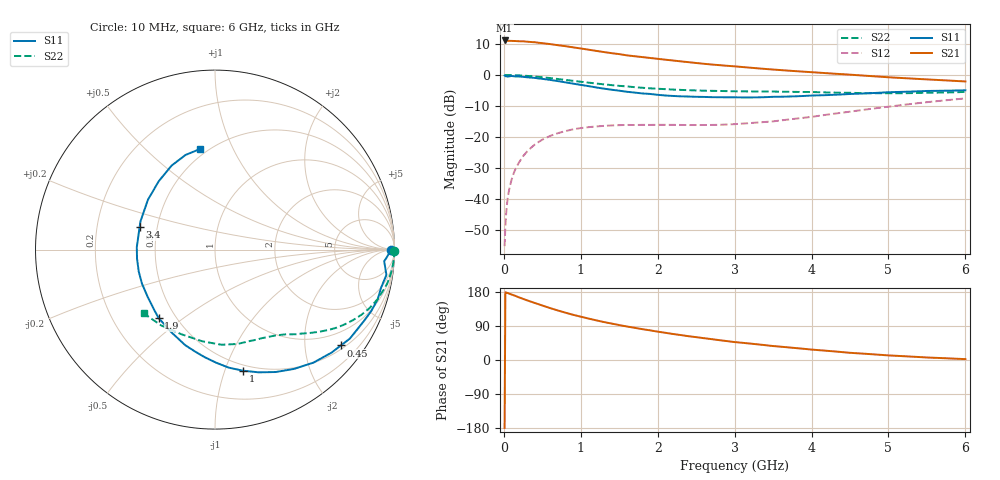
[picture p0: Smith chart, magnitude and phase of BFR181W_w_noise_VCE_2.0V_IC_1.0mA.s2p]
! Infineon Technologies  Discrete & RF Semiconductors
! BFR181W
! VCE =  2.0 V,  IC =  1.0 mA
! Common Emitter S-Parameters:  Jan 2017
# GHz  S  MA  R  50
!  f  S11  S21  S12  S22
! GHz  MAG  ANG  MAG  ANG  MAG  ANG  MAG  ANG
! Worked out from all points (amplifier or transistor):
!   77 points, 10 MHz to 6 GHz, reference 50 ohm
!   highest |S21| = 11.2 dB at 10 MHz (marker M1)
!   |S21| within 3 dB of that: start of sweep to 1.104 GHz
!   unconditionally stable (mu >= 1): 2.28 GHz to 4.575 GHz
!   at 130 MHz: K = 0.06, MSG = 21.4 dB, |S12| = -31.7 dB
!   at 2.2 GHz: K = 0.97, MSG = 10.4 dB, |S12| = -16.1 dB
!   at 6 GHz: K = 0.88, MSG = 2.7 dB, |S12| = -7.6 dB
!   lowest NFmin = 0.87 dB at 450 MHz
!   S11 on the Smith chart (normalised r, x): 10 MHz: open; 450 MHz: 0.60, -2.85; 1 GHz: 0.45, -1.16; 1.9 GHz: 0.40, -0.41; 3.4 GHz: 0.40, +0.13; 6 GHz: 0.46, +0.75
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0.01  0.9823 0.0  3.626 -179.4  0.0017 93.2  1 -0.5
0.02  0.9559 -2.8  3.582 178.8  0.0036 98.0  0.9925 -0.6
0.04  0.9484 -3.5  3.582 177.4  0.0079 88.4  0.9965 -1.7
0.07  0.9523 -5.7  3.574 175.1  0.0141 85.4  0.9973 -3.1
0.11  0.9617 -9.3  3.562 172.1  0.022 83.6  0.9948 -4.8
0.25  0.9357 -21.4  3.512 161.3  0.0486 76.4  0.9789 -10.9
0.45  0.8815 -37.3  3.33 147.3  0.0822 65.7  0.9337 -18.8
0.6  0.8353 -48.9  3.17 137.1  0.1033 59.0  0.893 -24.0
0.7  0.7973 -56.5  3.042 130.8  0.1143 55.2  0.8634 -27.1
0.8  0.7615 -63.6  2.931 124.9  0.1238 51.4  0.8339 -30.0
1  0.6924 -77.0  2.69 114.3  0.1386 45.1  0.7782 -35.0
1.1  0.662 -83.4  2.572 109.4  0.1433 42.6  0.7538 -37.0
1.3  0.6021 -95.5  2.356 100.2  0.1503 38.0  0.707 -41.0
1.5  0.5578 -107.3  2.179 92.2  0.1544 35.0  0.6684 -44.5
1.9  0.4943 -129.4  1.889 78.3  0.1558 32.0  0.6094 -50.9
2.1  0.4663 -139.8  1.771 71.8  0.1562 31.9  0.5904 -54.0
2.4  0.4489 -155.1  1.615 62.8  0.1551 33.0  0.5685 -59.0
3.1  0.4337 174.4  1.348 45.4  0.1636 41.0  0.5441 -70.0
3.4  0.4386 163.1  1.254 39.1  0.1741 45.4  0.5406 -75.0
4.1  0.469 140.4  1.091 25.9  0.2192 51.7  0.5265 -88.4
5.1  0.5306 115.2  0.905 11.1  0.3185 50.7  0.5071 -114.1
6  0.5665 98.5  0.787 2.3  0.4187 42.9  0.5329 -138.2
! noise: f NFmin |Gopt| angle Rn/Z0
0.45  0.87  0.69  18  0.51
0.9  0.95  0.64  36  0.47
1.9  1.56  0.44  83  0.32
2.4  1.81  0.38  99  0.34
